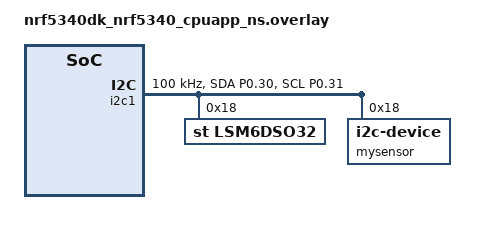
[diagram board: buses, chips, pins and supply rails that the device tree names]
// To get started, press Ctrl+Space to bring up the completion menu and view the available nodes.

// You can also use the buttons in the sidebar to perform actions on nodes.
// Actions currently available include:

// * Enabling / disabling the node
// * Adding the bus to a bus
// * Removing the node
// * Connecting ADC channels

// For more help, browse the DeviceTree documentation at https://docs.zephyrproject.org/latest/guides/dts/index.html
// You can also visit the nRF DeviceTree extension documentation at https://nrfconnect.github.io/vscode-nrf-connect/devicetree/nrfdevicetree.html

&pinctrl {
    i2c1_default: i2c1_default {
       group1 {
          psels = <NRF_PSEL(TWIM_SDA, 0, 30)>,
             <NRF_PSEL(TWIM_SCL, 0, 31)>;
            //  bias-pull-up;  //yellow squiggle???
       };
    };
    i2c1_sleep: i2c1_sleep {
       group1 {
          psels = <NRF_PSEL(TWIM_SDA, 0, 30)>,
             <NRF_PSEL(TWIM_SCL, 0, 31)>;
                //   low-power-enable; //yellow squiggle???
       };
    };
 };

 &i2c1 {
    compatible = "nordic,nrf-twim";
    // compatible = "i2c-device";
    status = "okay";
    /* default state */
    pinctrl-0 = <&i2c1_default>;
    /* sleep state (only applicable if CONFIG_PM_DEVICE=y) */
    pinctrl-1 = <&i2c1_sleep>;
    /* state assigned to each pinctrl-N property by index */
    pinctrl-names = "default", "sleep";
    clock-frequency = <I2C_BITRATE_STANDARD>;

    lsm6dso32: lsm6dso32@18 {
        compatible = "st,lsm6dso32";
        status = "okay";
        label = "lsm6dso32";
        reg = <0x18>;
    };

   mysensor: mysensor@18{
         compatible = "i2c-device";
         status = "okay";
         reg = < 0x18 >;
   };
 };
